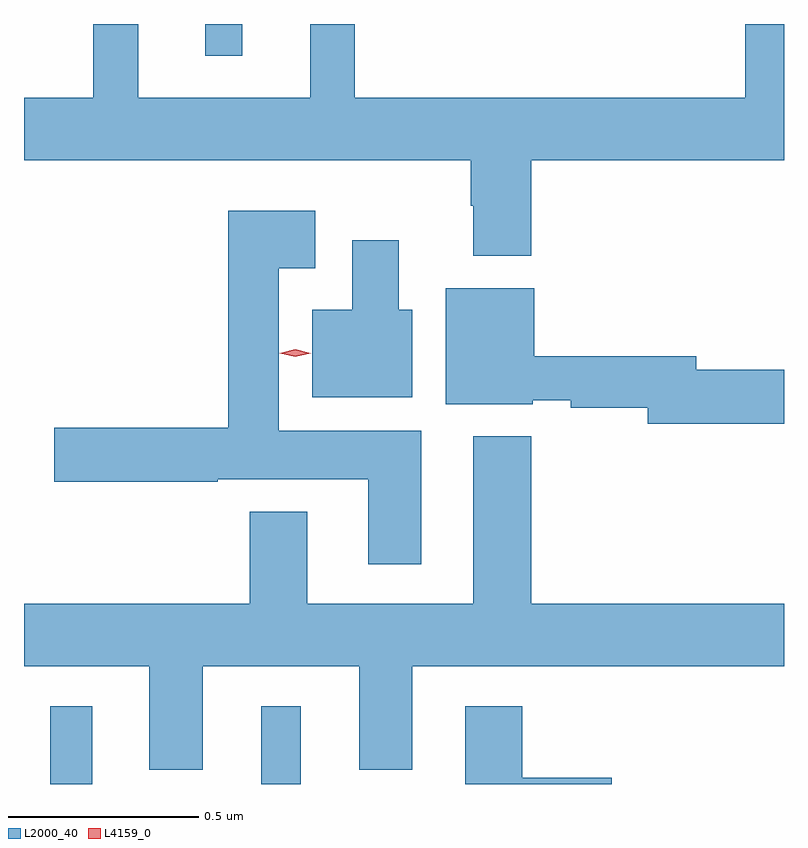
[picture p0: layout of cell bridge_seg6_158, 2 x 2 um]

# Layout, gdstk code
import gdstk
lib = gdstk.Library(unit=1e-6, precision=1e-09)
def R(c, l, rs):  # rectangles x0, y0, x1, y1
    for r in rs: c.add(gdstk.rectangle(r[:2], r[2:], *l))
def P(c, l, *ps):  # polygons
    for p in ps: c.add(gdstk.Polygon(p, *l))
L2000_40 = (2000, 40)
L4159_0 = (4159, 0)

bridge_seg6_158 = lib.new_cell('bridge_seg6_158')
R(bridge_seg6_158, L2000_40, [(526.52,985.654,526.63,985.858), (527.075,985.654,527.179,985.858), (526.928,987.57,527.025,987.654)])
P(bridge_seg6_158, L2000_40, [(527.786,987.296),(528.451,987.296),(528.451,987.654),(528.349,987.654),(528.349,987.46),(527.321,987.46),(527.321,987.654),(527.204,987.654),(527.204,987.46),(526.751,987.46),(526.751,987.654),(526.633,987.654),(526.633,987.46),(526.451,987.46),(526.451,987.296),(527.626,987.296),(527.626,987.176),(527.633,987.176),(527.633,987.044),(527.786,987.044)],
  [(527.497,986.584),(527.122,986.584),(527.122,987.011),(527.218,987.011),(527.218,987.163),(526.988,987.163),(526.988,986.591),(526.53,986.591),(526.53,986.449),(526.961,986.449),(526.961,986.456),(527.357,986.456),(527.357,986.232),(527.497,986.232)],
  [(527.473,986.902),(527.437,986.902),(527.437,987.085),(527.315,987.085),(527.315,986.902),(527.21,986.902),(527.21,986.672),(527.473,986.672)],
  [(528.451,986.744),(528.22,986.744),(528.22,986.78),(527.794,986.78),(527.794,986.959),(527.561,986.959),(527.561,986.654),(527.79,986.654),(527.79,986.664),(527.89,986.664),(527.89,986.644),(528.092,986.644),(528.092,986.602),(528.451,986.602)],
  [(526.921,985.964),(527.333,985.964),(527.333,985.691),(527.473,985.691),(527.473,985.964),(528.451,985.964),(528.451,986.128),(527.786,986.128),(527.786,986.569),(527.633,986.569),(527.633,986.128),(527.197,986.128),(527.197,986.371),(527.045,986.371),(527.045,986.128),(526.451,986.128),(526.451,985.964),(526.781,985.964),(526.781,985.691),(526.921,985.691)],
  [(527.998,985.671),(527.762,985.671),(527.762,985.858),(527.612,985.858),(527.612,985.654),(527.998,985.654)])
P(bridge_seg6_158, L4159_0, [(527.165,986.778),(527.124,986.788),(527.124,986.788),(527.124,986.788),(527.165,986.798),(527.206,986.788),(527.206,986.788),(527.206,986.788)])

lib.write_gds('bridge_seg6_158.gds')
